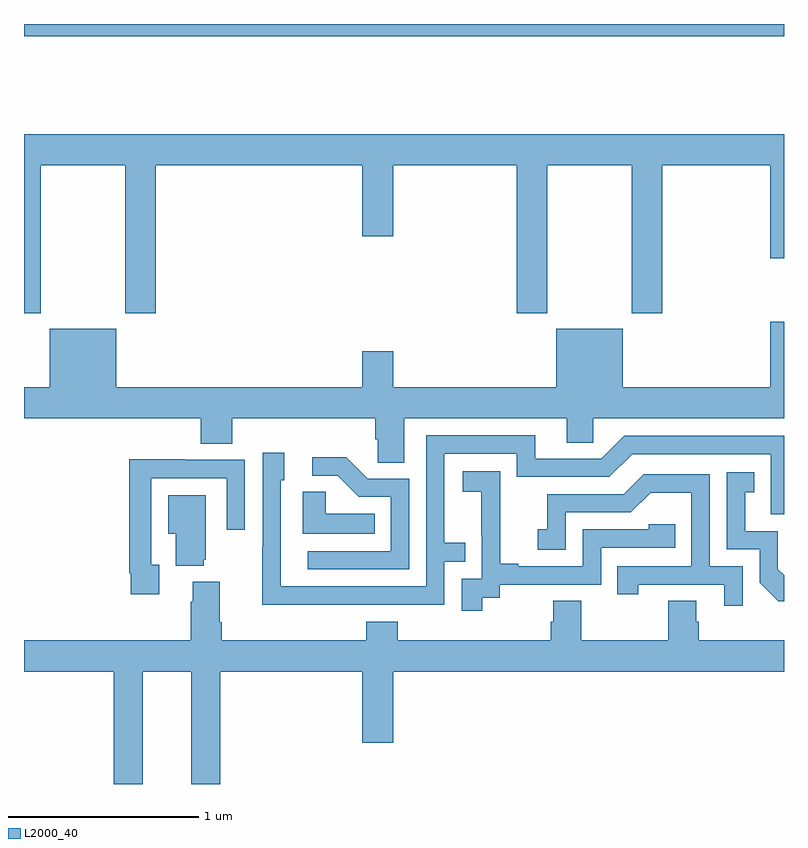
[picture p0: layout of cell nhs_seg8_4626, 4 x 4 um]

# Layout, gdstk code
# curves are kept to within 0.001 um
import gdstk
lib = gdstk.Library(unit=1e-6, precision=1e-09)
def R(c, l, rs):  # rectangles x0, y0, x1, y1
    for r in rs: c.add(gdstk.rectangle(r[:2], r[2:], *l))
def P(c, l, *ps):  # polygons
    for p in ps: c.add(gdstk.Polygon(p, *l))
L2000_40 = (2000, 40)

nhs_seg8_4626 = lib.new_cell('nhs_seg8_4626')
R(nhs_seg8_4626, L2000_40, [(391,1127.836,395,1127.9)])
P(nhs_seg8_4626, L2000_40, [(391.089,1127.156),(391.534,1127.156),(391.534,1126.377),(391.694,1126.377),(391.694,1127.156),(392.78,1127.156),(392.78,1126.782),(392.944,1126.782),(392.944,1127.156),(393.593,1127.156),(393.593,1126.377),(393.753,1126.377),(393.753,1127.156),(394.198,1127.156),(394.198,1126.377),(394.358,1126.377),(394.358,1127.156),(394.927,1127.156),(394.927,1126.668),(395,1126.668),(395,1127.32),(391,1127.32),(391,1126.377),(391.089,1126.377)],
  [(393.001,1125.824),(393.857,1125.824),(393.857,1125.697),(393.996,1125.697),(393.996,1125.824),(395,1125.824),(395,1126.333),(394.927,1126.333),(394.927,1125.988),(394.15,1125.988),(394.15,1126.297),(393.8,1126.297),(393.8,1125.988),(392.944,1125.988),(392.944,1126.177),(392.78,1126.177),(392.78,1125.988),(391.486,1125.988),(391.486,1126.297),(391.136,1126.297),(391.136,1125.988),(391,1125.988),(391,1125.824),(391.931,1125.824),(391.931,1125.691),(392.096,1125.691),(392.096,1125.824),(392.849,1125.824),(392.849,1125.715),(392.862,1125.715),(392.862,1125.592),(393.001,1125.592)],
  [(392.717,1124.844),(393.213,1124.844),(393.213,1125.069),(393.323,1125.069),(393.323,1125.17),(393.213,1125.17),(393.213,1125.639),(393.594,1125.639),(393.594,1125.516),(394.08,1125.516),(394.2,1125.636),(394.929,1125.636),(394.929,1125.321),(395,1125.321),(395,1125.732),(394.158,1125.732),(394.038,1125.612),(393.691,1125.612),(393.691,1125.735),(393.117,1125.735),(393.117,1124.94),(392.352,1124.94),(392.352,1125.498),(392.371,1125.498),(392.371,1125.643),(392.256,1125.643),(392.256,1125.149),(392.254,1125.149),(392.254,1124.843)],
  [(393.027,1125.507),(392.808,1125.507),(392.695,1125.62),(392.517,1125.62),(392.517,1125.522),(392.651,1125.522),(392.762,1125.411),(392.931,1125.411),(392.931,1125.126),(392.493,1125.126),(392.493,1125.03),(393.027,1125.03)],
  [(391.711,1125.054),(391.671,1125.054),(391.671,1125.51),(392.067,1125.51),(392.067,1125.237),(392.163,1125.237),(392.163,1125.606),(391.847,1125.606),(391.847,1125.608),(391.555,1125.608),(391.555,1125.01),(391.563,1125.01),(391.563,1124.898),(391.711,1124.898)],
  [(393.412,1124.881),(393.504,1124.881),(393.504,1124.949),(394.038,1124.949),(394.038,1125.144),(394.427,1125.144),(394.427,1125.267),(394.287,1125.267),(394.287,1125.24),(393.942,1125.24),(393.942,1125.045),(393.601,1125.045),(393.601,1125.058),(393.506,1125.058),(393.506,1125.341),(393.507,1125.341),(393.507,1125.547),(393.309,1125.547),(393.309,1125.437),(393.407,1125.437),(393.407,1125.209),(393.408,1125.209),(393.408,1124.979),(393.303,1124.979),(393.303,1124.811),(393.412,1124.811)],
  [(395,1124.998),(394.968,1125.03),(394.968,1125.231),(394.795,1125.231),(394.795,1125.435),(394.844,1125.435),(394.844,1125.541),(394.698,1125.541),(394.698,1125.135),(394.872,1125.135),(394.872,1124.958),(394.97,1124.861),(395,1124.861)],
  [(394.782,1125.045),(394.608,1125.045),(394.608,1125.531),(394.262,1125.531),(394.157,1125.426),(393.754,1125.426),(393.754,1125.241),(393.705,1125.241),(393.705,1125.132),(393.852,1125.132),(393.852,1125.33),(394.194,1125.33),(394.298,1125.434),(394.512,1125.434),(394.512,1125.045),(394.123,1125.045),(394.123,1124.898),(394.234,1124.898),(394.234,1124.949),(394.685,1124.949),(394.685,1124.838),(394.782,1124.838)],
  [(392.846,1125.322),(392.589,1125.322),(392.589,1125.437),(392.468,1125.437),(392.468,1125.218),(392.846,1125.218)],
  [(391.946,1125.081),(391.957,1125.081),(391.957,1125.421),(391.76,1125.421),(391.76,1125.218),(391.799,1125.218),(391.799,1125.05),(391.946,1125.05)],
  [(391.624,1124.492),(391.88,1124.492),(391.88,1123.9),(392.033,1123.9),(392.033,1124.492),(392.78,1124.492),(392.78,1124.118),(392.944,1124.118),(392.944,1124.492),(395,1124.492),(395,1124.656),(394.55,1124.656),(394.55,1124.754),(394.537,1124.754),(394.537,1124.864),(394.39,1124.864),(394.39,1124.656),(393.933,1124.656),(393.933,1124.864),(393.785,1124.864),(393.785,1124.754),(393.773,1124.754),(393.773,1124.656),(392.966,1124.656),(392.966,1124.755),(392.801,1124.755),(392.801,1124.656),(392.042,1124.656),(392.042,1124.752),(392.029,1124.752),(392.029,1124.965),(391.889,1124.965),(391.889,1124.858),(391.877,1124.858),(391.877,1124.656),(391,1124.656),(391,1124.492),(391.472,1124.492),(391.472,1123.9),(391.624,1123.9)])

lib.write_gds('nhs_seg8_4626.gds')
